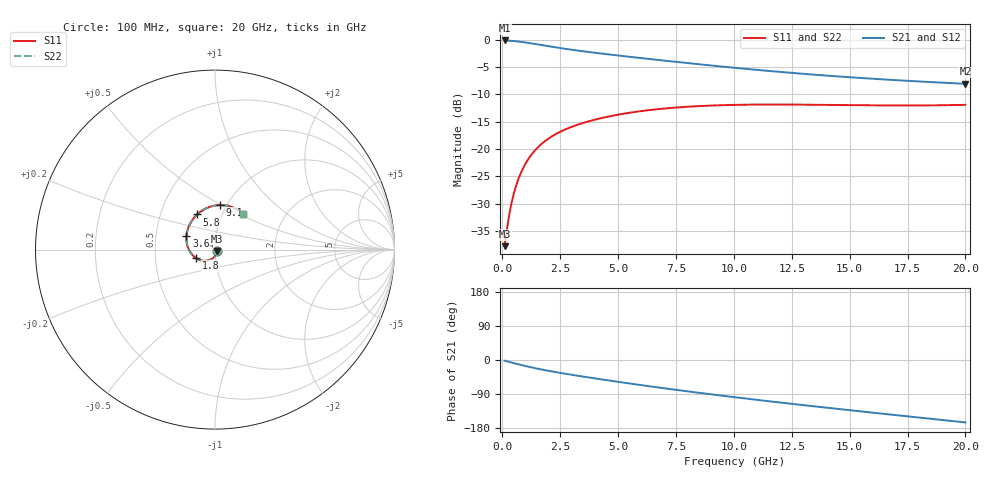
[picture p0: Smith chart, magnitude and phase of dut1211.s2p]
! Touchstone file exported from HFSS 2024.1.0
!  File:  C:/UserFiles/LocalFiles/RDL_TSV_Batchsim/temp_RDL_TSV_1211_1780259464.aedt
!  Generated:  04:45:38 AM Jun  1, 2026
!  Design:  RDL_TSV
!  Project:  temp_RDL_TSV_1211_1780259464
!  Setup:  Setup1
!  Solution:  Sweep
! Variables:
!  dtsv = 14.69um
!  hbump = 3um
!  htsv = 93.15um
!  ldown = 254.47um
!  lrdl = 258.87um
!  p = 40
!  p1 = 45.47um
!  rhole = 10um
!  subl = 1798.89um
!  t = 450um
!  tdown = 3.76um
!  trdl = 3.26um
!  viad = 10um
!  wdown = 18.32um
!  wrdl = 19.04um
!  xbump = 18um
# GHz S MA R 50.000000
! Terminal data exported
! Port[1] = TM1_1_T1
! Port[2] = TM1_4_T1
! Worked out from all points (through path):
!   200 points, 100 MHz to 20 GHz, reference 50 ohm
!   highest |S21| = -0.10 dB at 100 MHz (marker M1); lowest = -8.0 dB at 20 GHz (marker M2)
!   group delay of S21, straight-line fit = 21.5 ps
!   lowest |S11| = -37.8 dB at 100 MHz (marker M3), VSWR 1.03, Z = 51 - j0.827 ohm
!   |S11| at or under -10 dB: start of sweep to end of sweep
!   |S22| runs from -37.8 to -11.9 dB; largest |S21 - S12| = 1.6e-14
!   S11 on the Smith chart (normalised r, x): 100 MHz: 1.02, -0.02; 1.8 GHz: 0.80, -0.08; 3.6 GHz: 0.72, +0.11; 5.8 GHz: 0.76, +0.31; 9.1 GHz: 0.93, +0.50; 20 GHz: 1.24, +0.53
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0.1  0.01284 -39.1  0.9889 -1.7  0.9889 -1.7  0.01284 -39.1
! Gamma 0 0 0 0
! Port Impedance 50 0 50 0
0.2  0.01832 -62.5  0.9871 -3.4  0.9871 -3.4  0.01832 -62.5
0.3  0.02496 -76.6  0.9843 -5.1  0.9843 -5.1  0.02496 -76.6
0.4  0.03202 -86.7  0.9808 -6.7  0.9808 -6.7  0.03202 -86.7
0.5  0.03919 -94.7  0.9765 -8.3  0.9765 -8.3  0.03919 -94.7
0.7  0.05331 -107.7  0.9663 -11.5  0.9663 -11.5  0.05331 -107.7
0.9  0.06675 -118.5  0.954 -14.5  0.954 -14.5  0.06675 -118.5
1.2  0.08525 -132.6  0.9332 -18.7  0.9332 -18.7  0.08523 -132.6
1.5  0.1016 -145.0  0.9112 -22.6  0.9112 -22.6  0.1016 -145.0
1.8  0.1161 -156.1  0.8892 -26.3  0.8892 -26.3  0.116 -156.1
2.5  0.1437 -178.3  0.8419 -34.0  0.8419 -34.0  0.1436 -178.2
3.5  0.1736 156.7  0.7863 -43.9  0.7863 -43.9  0.1733 156.7
3.6  0.1761 154.5  0.7813 -44.8  0.7813 -44.8  0.1759 154.6
4.7  0.2007 133.5  0.732 -54.9  0.732 -54.9  0.2003 133.6
5.8  0.2197 116.9  0.6888 -64.6  0.6888 -64.6  0.2192 116.9
6.8  0.2328 104.5  0.6529 -73.0  0.6529 -73.0  0.2322 104.5
9.1  0.2505 83.2  0.5806 -91.3  0.5806 -91.3  0.2497 83.3
10.1  0.2539 76.4  0.5534 -98.7  0.5534 -98.7  0.253 76.4
11.7  0.2556 67.8  0.5153 -110.2  0.5153 -110.2  0.2547 67.8
13.4  0.2544 61.2  0.4814 -121.8  0.4814 -121.8  0.2535 61.2
16.7  0.2507 54.2  0.4313 -143.5  0.4313 -143.5  0.2497 54.3
20  0.254 52.1  0.396 -164.7  0.396 -164.7  0.253 52.1
